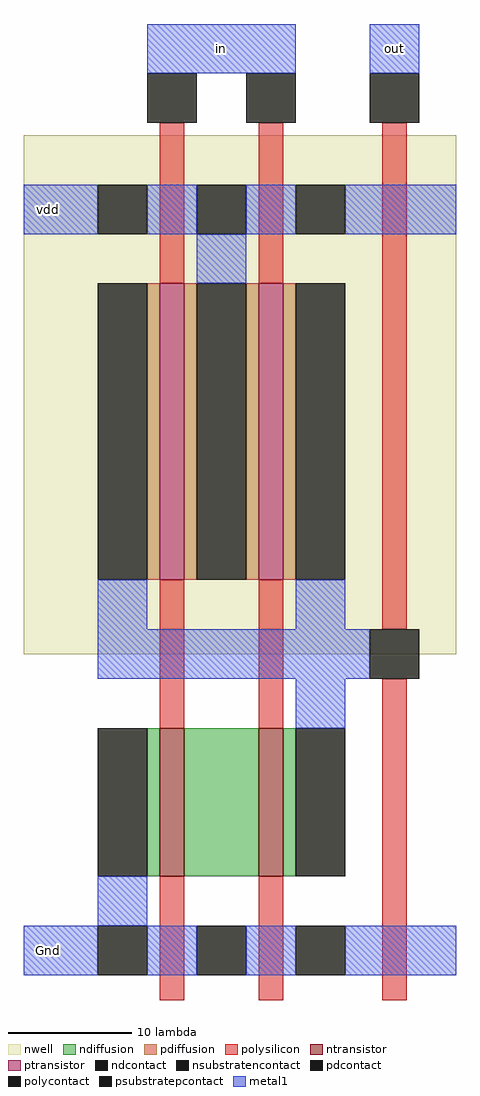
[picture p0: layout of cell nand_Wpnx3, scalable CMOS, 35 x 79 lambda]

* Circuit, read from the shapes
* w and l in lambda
.subckt nand_Wpnx3 Gnd in out vdd
M1 n1 in Gnd Gnd nfet w=12 l=2
M2 out in n1 Gnd nfet w=12 l=2
M3 vdd in out vdd pfet w=24 l=2 m=2
.ends

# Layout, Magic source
magic
tech scmos
<< nwell >>
rect -14 1 21 43
<< ntransistor >>
rect -3 -17 -1 -5
rect 5 -17 7 -5
<< ptransistor >>
rect -3 7 -1 31
rect 5 7 7 31
<< ndiffusion >>
rect -4 -17 -3 -5
rect -1 -17 5 -5
rect 7 -17 8 -5
<< pdiffusion >>
rect -4 7 -3 31
rect -1 7 0 31
rect 4 7 5 31
rect 7 7 8 31
<< ndcontact >>
rect -8 -17 -4 -5
rect 8 -17 12 -5
<< pdcontact >>
rect -8 7 -4 31
rect 0 7 4 31
rect 8 7 12 31
<< psubstratepcontact >>
rect -8 -25 -4 -21
rect 0 -25 4 -21
rect 8 -25 12 -21
<< nsubstratencontact >>
rect -8 35 -4 39
rect 0 35 4 39
rect 8 35 12 39
<< polysilicon >>
rect -3 31 -1 44
rect 5 31 7 44
rect -3 -5 -1 7
rect 5 -5 7 7
rect 15 3 17 44
rect -3 -27 -1 -17
rect 5 -27 7 -17
rect 15 -27 17 -1
<< polycontact >>
rect -4 44 0 48
rect 4 44 8 48
rect 14 44 18 48
rect 14 -1 18 3
<< metal1 >>
rect -4 48 8 52
rect 14 48 18 52
rect -14 35 -8 39
rect -4 35 0 39
rect 4 35 8 39
rect 12 35 21 39
rect 0 31 4 35
rect -8 3 -4 7
rect 8 3 12 7
rect -8 -1 14 3
rect 8 -5 12 -1
rect -8 -21 -4 -17
rect -14 -25 -8 -21
rect -4 -25 0 -21
rect 4 -25 8 -21
rect 12 -25 21 -21
<< labels >>
rlabel metal1 -14 -25 -10 -21 2 Gnd
rlabel metal1 14 48 18 52 6 out
rlabel metal1 0 48 4 52 5 in
rlabel metal1 -14 35 -10 39 3 vdd
<< end >>
